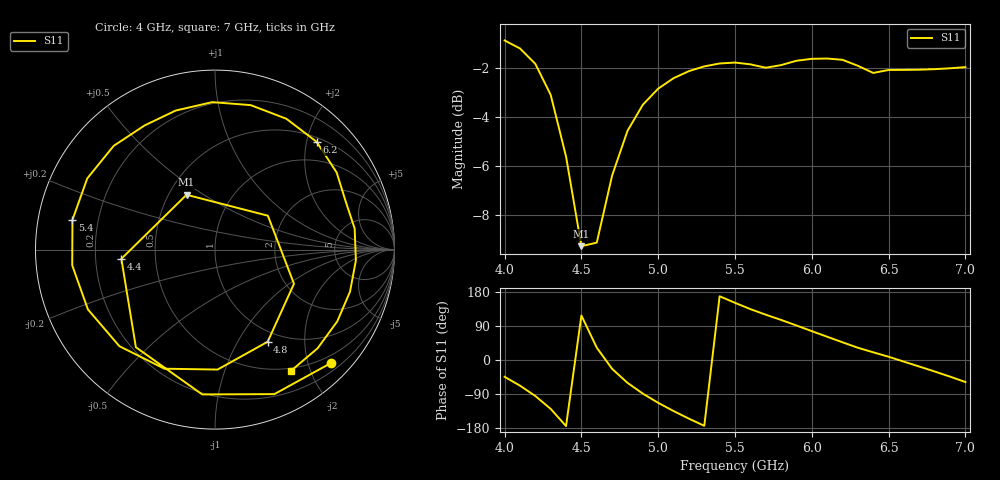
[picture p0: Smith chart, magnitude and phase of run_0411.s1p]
! Touchstone file exported from HFSS 2024.2.0
!  File:  C:/Users/wsak9/Desktop/Sim Fast/Widenad Patch/WP_AI_V1_sweep.aedt
!  Generated:  08:44:14 AM Oct 14, 2026
!  Design:  A1_model
!  Project:  WP_AI_V1_sweep
!  Setup:  Setup1
!  Solution:  Sweep
! Variables:
!  Air_gap = 1.79mm
!  Curve_Amp1 = 1.35
!  Curve_len1 = 1
!  Curve_pos = 12.14mm
!  Extra = 1.12mm
!  H_sub = 0.79mm
!  L_Patch = 20.28mm
!  L_Patch1 = 14.59mm
!  Sx = 0.25mm
!  Sy = 3.6mm
!  WS = 1.49mm
!  W_Patch = 21.73mm
!  W_Patch1 = 13.47mm
!Data is not renormalized
# GHz S MA
! Terminal data exported
! Port[1] = 1
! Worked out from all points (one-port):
!   31 points, 4 GHz to 7 GHz, reference per port
!   lowest |S11| = -9.3 dB at 4.5 GHz (marker M1), VSWR 2.05
!   |S11| at or under -10 dB: nowhere
!   S11 on the Smith chart (normalised r, x): 4 GHz: 0.35, -2.41; 4.4 GHz: 0.31, -0.04; 4.8 GHz: 0.85, -1.35; 5.4 GHz: 0.11, +0.10; 6.2 GHz: 0.58, +2.19; 7 GHz: 0.46, -1.71
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4  0.9038 -44.4
4.1  0.8705 -67.7
4.2  0.81 -95.0
4.3  0.7002 -129.0
4.4  0.5242 -174.4
4.5  0.3442 117.4
4.6  0.35 32.7
4.7  0.4795 -23.4
4.8  0.5913 -60.2
4.9  0.6685 -88.8
5  0.7209 -113.0
5.1  0.7572 -134.7
5.2  0.7826 -154.8
5.3  0.8003 -173.7
5.4  0.8112 168.2
5.5  0.8148 150.9
5.6  0.808 134.3
5.7  0.7952 119.5
5.9  0.8217 91.1
6  0.8291 76.1
6.1  0.8303 61.4
6.2  0.8254 46.7
6.3  0.8025 32.3
6.5  0.7869 8.6
6.6  0.7872 -4.4
6.7  0.7879 -17.3
6.9  0.7932 -43.9
7  0.7975 -58.1
